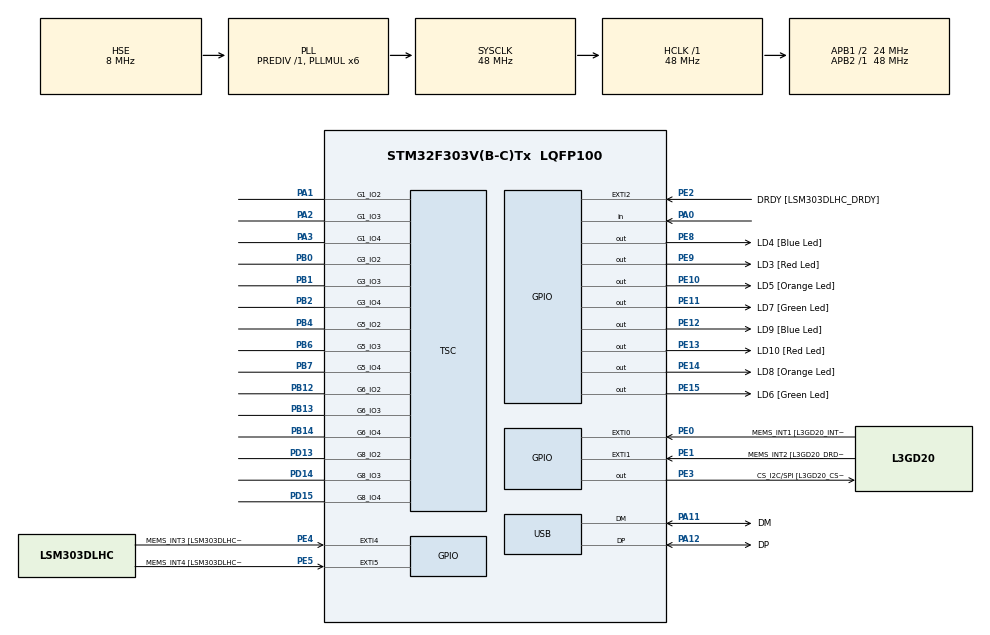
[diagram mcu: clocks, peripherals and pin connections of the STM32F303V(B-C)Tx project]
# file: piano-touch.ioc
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Mcu.Family=STM32F3
Mcu.Name=STM32F303V(B-C)Tx
Mcu.Package=LQFP100
NVIC.PriorityGroup=NVIC_PRIORITYGROUP_0
PA0.Signal=GPIO_Input
PA1.Mode=G1_IO2-Sampling
PA1.Signal=TSC_G1_IO2
PA11.GPIO_Label=DM
PA11.Mode=Device
PA11.Signal=USB_DM
PA12.GPIO_Label=DP
PA12.Mode=Device
PA12.Signal=USB_DP
PA13.GPIO_Label=SWDIO
PA13.Mode=Serial_Wire
PA13.Signal=SYS_JTMS-SWDIO
PA14.GPIO_Label=SWCLK
PA14.Mode=Serial_Wire
PA14.Signal=SYS_JTCK-SWCLK
PA2.Mode=G1_IO3-Channel
PA2.Signal=TSC_G1_IO3
PA3.Mode=G1_IO4-Channel
PA3.Signal=TSC_G1_IO4
PA5.Signal=SPI1_SCK
PA6.Signal=SPI1_MISO
PA7.Signal=SPI1_MOSI
PB0.Mode=G3_IO2-Sampling
PB0.Signal=TSC_G3_IO2
PB1.Mode=G3_IO3-Channel
PB1.Signal=TSC_G3_IO3
PB12.Mode=G6_IO2-Sampling
PB12.Signal=TSC_G6_IO2
PB13.Mode=G6_IO3-Channel
PB13.Signal=TSC_G6_IO3
PB14.Mode=G6_IO4-Channel
PB14.Signal=TSC_G6_IO4
PB2.Mode=G3_IO4-Channel
PB2.Signal=TSC_G3_IO4
PB3.GPIO_Label=SWO
PB3.Signal=SYS_JTDO-TRACESWO
PB4.Mode=G5_IO2-Channel
PB4.Signal=TSC_G5_IO2
PB6.Mode=G5_IO3-Sampling
PB6.Signal=TSC_G5_IO3
PB7.Mode=G5_IO4-Channel
PB7.Signal=TSC_G5_IO4
PC14-OSC32_IN.GPIO_Label=OSC32_IN
PC14-OSC32_IN.Signal=RCC_OSC32_IN
PC15-OSC32_OUT.GPIO_Label=OSC32_OUT
PC15-OSC32_OUT.Signal=RCC_OSC32_OUT
PD13.Mode=G8_IO2-Sampling
PD13.Signal=TSC_G8_IO2
PD14.Mode=G8_IO3-Channel
PD14.Signal=TSC_G8_IO3
PD15.Mode=G8_IO4-Channel
PD15.Signal=TSC_G8_IO4
PE0.GPIO_Label=MEMS_INT1 [L3GD20_INT1]
PE0.GPIO_ModeDefaultEXTI=GPIO_MODE_EVT_RISING
PE0.Signal=GPXTI0
PE1.GPIO_Label=MEMS_INT2 [L3GD20_DRDY/INT2]
PE1.GPIO_ModeDefaultEXTI=GPIO_MODE_EVT_RISING
PE1.Signal=GPXTI1
PE10.GPIO_Label=LD5 [Orange Led]
PE10.Signal=GPIO_Output
PE11.GPIO_Label=LD7 [Green Led]
PE11.Signal=GPIO_Output
PE12.GPIO_Label=LD9 [Blue Led]
PE12.Signal=GPIO_Output
PE13.GPIO_Label=LD10 [Red Led]
PE13.Signal=GPIO_Output
PE14.GPIO_Label=LD8 [Orange Led]
PE14.Signal=GPIO_Output
PE15.GPIO_Label=LD6 [Green Led]
PE15.Signal=GPIO_Output
PE2.GPIO_Label=DRDY [LSM303DLHC_DRDY]
PE2.GPIO_ModeDefaultEXTI=GPIO_MODE_EVT_RISING
PE2.Signal=GPXTI2
PE3.GPIO_Label=CS_I2C/SPI [L3GD20_CS_I2C/SPI]
PE3.Signal=GPIO_Output
PE4.GPIO_Label=MEMS_INT3 [LSM303DLHC_INT1]
PE4.GPIO_ModeDefaultEXTI=GPIO_MODE_EVT_RISING
PE4.Signal=GPXTI4
PE5.GPIO_Label=MEMS_INT4 [LSM303DLHC_INT2]
PE5.GPIO_ModeDefaultEXTI=GPIO_MODE_EVT_RISING
PE5.Signal=GPXTI5
PE8.GPIO_Label=LD4 [Blue Led]
PE8.Signal=GPIO_Output
PE9.GPIO_Label=LD3 [Red Led]
PE9.Signal=GPIO_Output
PF0-OSC_IN.GPIO_Label=OSC_IN
PF0-OSC_IN.Mode=HSE-External-Clock-Source
PF0-OSC_IN.Signal=RCC_OSC_IN
PF1-OSC_OUT.GPIO_Label=OSC_OUT
PF1-OSC_OUT.Signal=RCC_OSC_OUT
ProjectManager.HeapSize=0x200
ProjectManager.StackSize=0x400
ProjectManager.TargetToolchain=STM32CubeIDE
RCC.AHBFreq_Value=48000000
RCC.APB1CLKDivider=RCC_HCLK_DIV2
RCC.APB1Freq_Value=24000000
RCC.APB1TimFreq_Value=48000000
RCC.APB2Freq_Value=48000000
RCC.APB2TimFreq_Value=48000000
RCC.CortexFreq_Value=48000000
RCC.HCLKFreq_Value=48000000
RCC.HSE_VALUE=8000000
RCC.HSI_VALUE=8000000
RCC.LSE_VALUE=32768
RCC.PLLMUL=RCC_PLL_MUL6
RCC.SYSCLKFreq_VALUE=48000000
RCC.SYSCLKSourceVirtual=RCC_SYSCLKSOURCE_PLLCLK
RCC.USBFreq_Value=48000000
TSC.ChannelIOs-G1_IO3-Channel=TSC_GROUP1_IO3
TSC.ChannelIOs-G1_IO4-Channel=TSC_GROUP1_IO4
TSC.ChannelIOs-G3_IO3-Channel=TSC_GROUP3_IO3
TSC.ChannelIOs-G3_IO4-Channel=TSC_GROUP3_IO4
TSC.ChannelIOs-G5_IO2-Channel=TSC_GROUP5_IO2
TSC.ChannelIOs-G5_IO4-Channel=TSC_GROUP5_IO4
TSC.ChannelIOs-G6_IO3-Channel=TSC_GROUP6_IO3
TSC.ChannelIOs-G6_IO4-Channel=TSC_GROUP6_IO4
TSC.ChannelIOs-G8_IO3-Channel=TSC_GROUP8_IO3
TSC.ChannelIOs-G8_IO4-Channel=TSC_GROUP8_IO4
TSC.SamplingIOs-G1_IO2-Sampling=TSC_GROUP1_IO2
TSC.SamplingIOs-G3_IO2-Sampling=TSC_GROUP3_IO2
TSC.SamplingIOs-G5_IO3-Sampling=TSC_GROUP5_IO3
TSC.SamplingIOs-G6_IO2-Sampling=TSC_GROUP6_IO2
TSC.SamplingIOs-G8_IO2-Sampling=TSC_GROUP8_IO2
board=STM32F3DISCOVERY

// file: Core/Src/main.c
/* USER CODE BEGIN Header */
/**
  ******************************************************************************
  * @file           : main.c
  * @brief          : Main program body
  ******************************************************************************
  * @attention
  *
  * Copyright (c) 2025 STMicroelectronics.
  * All rights reserved.
  *
  * This software is licensed under terms that can be found in the LICENSE file
  * in the root directory of this software component.
  * If no LICENSE file comes with this software, it is provided AS-IS.
  *
  ******************************************************************************
  */
/* USER CODE END Header */
#include "main.h"

/* USER CODE BEGIN Includes */
#include "digitalio.h"
#include "timer.h"
#include "game_logic.h"
#include "serial.h"

/* USER CODE END Includes */

/* USER CODE BEGIN PD */
#define CKEY 0
#define DKEY 1
#define EKEY 2
#define FKEY 3
#define GKEY 4

#define KEY_COUNT 5
#define MAX_SEQ_COUNT 30

#define TSC_GROUP1_IDX 0
#define TSC_GROUP3_IDX 2
#define TSC_GROUP5_IDX 4
#define TSC_GROUP6_IDX 5
#define TSC_GROUP8_IDX 7

/* USER CODE END PD */

TSC_HandleTypeDef htsc;

PCD_HandleTypeDef hpcd_USB_FS;

void SystemClock_Config(void);
static void MX_GPIO_Init(void);
static void MX_USB_PCD_Init(void);
static void MX_TSC_Init(void);

/* USER CODE BEGIN 0 */

volatile uint8_t string_to_send[64] = "This is a string !\r\n";
volatile uint8_t game_complete = 0;

typedef enum {
  LOCKED,
  UNLOCKED
} mutex_states_t;

mutex_states_t mutex = UNLOCKED;

/* USER CODE END 0 */

int main(void)
{

  /* USER CODE BEGIN 1 */

  /* UNCOMMENT THIS FOR GAME INTEGRATION
  KEEP COMMENTED TO PLAY INDIVIDUAL GAME*/

   game_wait();

  /* USER CODE END 1 */

  /* MCU Configuration--------------------------------------------------------*/

  /* Reset of all peripherals, Initializes the Flash interface and the Systick. */
  HAL_Init();

  /* USER CODE BEGIN Init */
  SerialInitialise(BAUD_115200, &USART1_PORT);

  /* USER CODE END Init */

  /* Configure the system clock */
  SystemClock_Config();

  /* Initialize all configured peripherals */
  MX_GPIO_Init();
  MX_USB_PCD_Init();
  MX_TSC_Init();

 // game_wait();

  /* USER CODE BEGIN 2 */
  initialise_gpio();
  enable_clocks();
  /* USER CODE END 2 */

  /* Infinite loop */
  /* USER CODE BEGIN WHILE */

  HAL_TSC_IODischarge(&htsc, ENABLE);
  HAL_Delay(2);

	if (HAL_TSC_Start_IT(&htsc) != HAL_OK) {
		Error_Handler();
	}

  while (1)
  {

		if (mutex == UNLOCKED) {
			mutex = LOCKED;

			mutex = UNLOCKED;
		}

	  HAL_Delay(2);

    /* USER CODE END WHILE */

  }
}

void SystemClock_Config(void)
{
  RCC_OscInitTypeDef RCC_OscInitStruct = {0};
  RCC_ClkInitTypeDef RCC_ClkInitStruct = {0};
  RCC_PeriphCLKInitTypeDef PeriphClkInit = {0};

  /** Initializes the RCC Oscillators according to the specified parameters
  * in the RCC_OscInitTypeDef structure.
  */
  RCC_OscInitStruct.OscillatorType = RCC_OSCILLATORTYPE_HSE;
  RCC_OscInitStruct.HSEState = RCC_HSE_BYPASS;
  RCC_OscInitStruct.HSEPredivValue = RCC_HSE_PREDIV_DIV1;
  RCC_OscInitStruct.HSIState = RCC_HSI_ON;
  RCC_OscInitStruct.PLL.PLLState = RCC_PLL_ON;
  RCC_OscInitStruct.PLL.PLLSource = RCC_PLLSOURCE_HSE;
  RCC_OscInitStruct.PLL.PLLMUL = RCC_PLL_MUL6;
  if (HAL_RCC_OscConfig(&RCC_OscInitStruct) != HAL_OK)
  {
    Error_Handler();
  }

  /** Initializes the CPU, AHB and APB buses clocks
  */
  RCC_ClkInitStruct.ClockType = RCC_CLOCKTYPE_HCLK|RCC_CLOCKTYPE_SYSCLK
                              |RCC_CLOCKTYPE_PCLK1|RCC_CLOCKTYPE_PCLK2;
  RCC_ClkInitStruct.SYSCLKSource = RCC_SYSCLKSOURCE_PLLCLK;
  RCC_ClkInitStruct.AHBCLKDivider = RCC_SYSCLK_DIV1;
  RCC_ClkInitStruct.APB1CLKDivider = RCC_HCLK_DIV2;
  RCC_ClkInitStruct.APB2CLKDivider = RCC_HCLK_DIV1;

  if (HAL_RCC_ClockConfig(&RCC_ClkInitStruct, FLASH_LATENCY_1) != HAL_OK)
  {
    Error_Handler();
  }
  PeriphClkInit.PeriphClockSelection = RCC_PERIPHCLK_USB;
  PeriphClkInit.USBClockSelection = RCC_USBCLKSOURCE_PLL;
  if (HAL_RCCEx_PeriphCLKConfig(&PeriphClkInit) != HAL_OK)
  {
    Error_Handler();
  }
}

static void MX_TSC_Init(void)
{

  /** Configure the TSC peripheral
  */
  htsc.Instance = TSC;
  htsc.Init.CTPulseHighLength = TSC_CTPH_2CYCLES;
  htsc.Init.CTPulseLowLength = TSC_CTPL_2CYCLES;
  htsc.Init.SpreadSpectrum = DISABLE;
  htsc.Init.SpreadSpectrumDeviation = 1;
  htsc.Init.SpreadSpectrumPrescaler = TSC_SS_PRESC_DIV1;
  htsc.Init.PulseGeneratorPrescaler = TSC_PG_PRESC_DIV4;
  htsc.Init.MaxCountValue = TSC_MCV_8191;
  htsc.Init.IODefaultMode = TSC_IODEF_OUT_PP_LOW;
  htsc.Init.SynchroPinPolarity = TSC_SYNC_POLARITY_FALLING;
  htsc.Init.AcquisitionMode = TSC_ACQ_MODE_NORMAL;
  htsc.Init.MaxCountInterrupt = DISABLE;
  htsc.Init.ChannelIOs = TSC_GROUP1_IO3|TSC_GROUP1_IO4|TSC_GROUP3_IO3|TSC_GROUP3_IO4
                    |TSC_GROUP5_IO2|TSC_GROUP5_IO4|TSC_GROUP6_IO3|TSC_GROUP6_IO4
                    |TSC_GROUP8_IO3|TSC_GROUP8_IO4;
  htsc.Init.ShieldIOs = 0;
  htsc.Init.SamplingIOs = TSC_GROUP1_IO2|TSC_GROUP3_IO2|TSC_GROUP5_IO3|TSC_GROUP6_IO2
                    |TSC_GROUP8_IO2;
  if (HAL_TSC_Init(&htsc) != HAL_OK)
  {
    Error_Handler();
  }

}

static void MX_USB_PCD_Init(void)
{

  hpcd_USB_FS.Instance = USB;
  hpcd_USB_FS.Init.dev_endpoints = 8;
  hpcd_USB_FS.Init.speed = PCD_SPEED_FULL;
  hpcd_USB_FS.Init.phy_itface = PCD_PHY_EMBEDDED;
  hpcd_USB_FS.Init.low_power_enable = DISABLE;
  hpcd_USB_FS.Init.battery_charging_enable = DISABLE;
  if (HAL_PCD_Init(&hpcd_USB_FS) != HAL_OK)
  {
    Error_Handler();
  }

}

static void MX_GPIO_Init(void)
{
  GPIO_InitTypeDef GPIO_InitStruct = {0};

  /* GPIO Ports Clock Enable */
  __HAL_RCC_GPIOE_CLK_ENABLE();
  __HAL_RCC_GPIOC_CLK_ENABLE();
  __HAL_RCC_GPIOF_CLK_ENABLE();
  __HAL_RCC_GPIOA_CLK_ENABLE();
  __HAL_RCC_GPIOB_CLK_ENABLE();
  __HAL_RCC_GPIOD_CLK_ENABLE();

  /*Configure GPIO pin Output Level */
  HAL_GPIO_WritePin(GPIOE, CS_I2C_SPI_Pin|LD4_Pin|LD3_Pin|LD5_Pin
                          |LD7_Pin|LD9_Pin|LD10_Pin|LD8_Pin
                          |LD6_Pin, GPIO_PIN_RESET);

  /*Configure GPIO pins : DRDY_Pin MEMS_INT3_Pin MEMS_INT4_Pin MEMS_INT1_Pin
                           MEMS_INT2_Pin */
  GPIO_InitStruct.Pin = DRDY_Pin|MEMS_INT3_Pin|MEMS_INT4_Pin|MEMS_INT1_Pin
                          |MEMS_INT2_Pin;
  GPIO_InitStruct.Mode = GPIO_MODE_EVT_RISING;
  GPIO_InitStruct.Pull = GPIO_NOPULL;
  HAL_GPIO_Init(GPIOE, &GPIO_InitStruct);

  /*Configure GPIO pins : CS_I2C_SPI_Pin LD4_Pin LD3_Pin LD5_Pin
                           LD7_Pin LD9_Pin LD10_Pin LD8_Pin
                           LD6_Pin */
  GPIO_InitStruct.Pin = CS_I2C_SPI_Pin|LD4_Pin|LD3_Pin|LD5_Pin
                          |LD7_Pin|LD9_Pin|LD10_Pin|LD8_Pin
                          |LD6_Pin;
  GPIO_InitStruct.Mode = GPIO_MODE_OUTPUT_PP;
  GPIO_InitStruct.Pull = GPIO_NOPULL;
  GPIO_InitStruct.Speed = GPIO_SPEED_FREQ_LOW;
  HAL_GPIO_Init(GPIOE, &GPIO_InitStruct);

  /*Configure GPIO pin : PA0 */
  GPIO_InitStruct.Pin = GPIO_PIN_0;
  GPIO_InitStruct.Mode = GPIO_MODE_INPUT;
  GPIO_InitStruct.Pull = GPIO_NOPULL;
  HAL_GPIO_Init(GPIOA, &GPIO_InitStruct);

  /*Configure GPIO pins : PA5 PA6 PA7 */
  GPIO_InitStruct.Pin = GPIO_PIN_5|GPIO_PIN_6|GPIO_PIN_7;
  GPIO_InitStruct.Mode = GPIO_MODE_AF_PP;
  GPIO_InitStruct.Pull = GPIO_NOPULL;
  GPIO_InitStruct.Speed = GPIO_SPEED_FREQ_HIGH;
  GPIO_InitStruct.Alternate = GPIO_AF5_SPI1;
  HAL_GPIO_Init(GPIOA, &GPIO_InitStruct);

  /* USER CODE BEGIN MX_GPIO_Init_2 */
  HAL_NVIC_SetPriority(EXTI2_TSC_IRQn, 0, 0);
  HAL_NVIC_EnableIRQ(EXTI2_TSC_IRQn);
  /* USER CODE END MX_GPIO_Init_2 */
}

void Error_Handler(void)
{
  __disable_irq();
  while (1)
  {
  }
}
